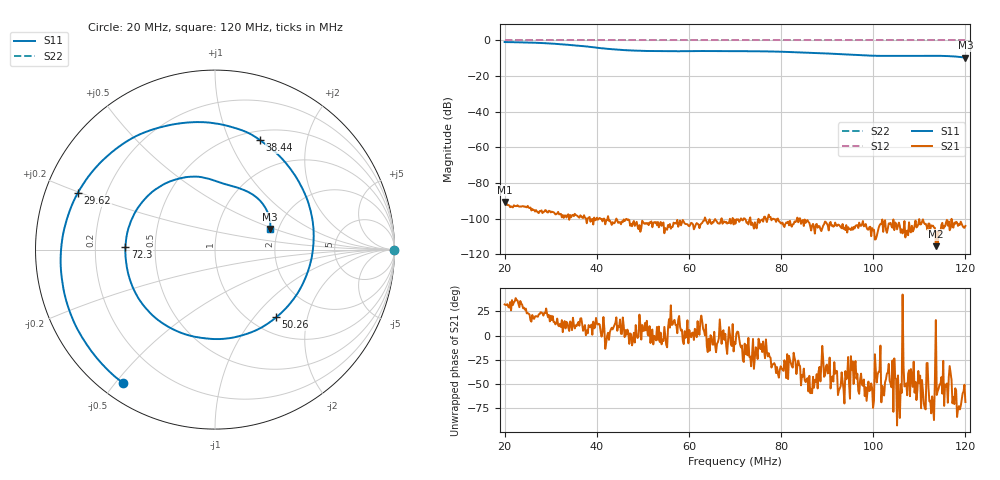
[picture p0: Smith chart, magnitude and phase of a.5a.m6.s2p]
! Anritsu VNA Master:  Model: MS2036C/10/77
! SN:  1601066
! /bd0/18may8/255.ew.m6.s2p
! Existing Calibration Information:
! TYPE:  Current Settings,  Active Cal Settings
! TIME:  05/08/2018 10:24:26 AM,  05/08/2018 10:22:10 AM
! INTERNAL TEMP:  47.5 C,  47.5 C
! # POINTS:  500,  500
! START FREQ:  20.000 MHz,  20.000 MHz
! STOP FREQ:  120.000 MHz,  120.000 MHz
! SOURCE POWER:  High,  High
! IFBW:  50 Hz,  50 Hz
! AVG FACTOR:  1 ,  1
! REF PLANE 1:  0 mm,  0 mm
! REF PLANE 2:  0 mm,  0 mm
! CAL TYPE:  Full S11,  Full S11
! CAL METHOD:  SOLT,  SOLT
! CAL LINE TYPE:  Coax,  Coax
! DUT PORT 1:  K-Conn(F),  K-Conn(F)
! DUT PORT 2:  K-Conn(F),  K-Conn(F)
! CAL STATUS:  OK: Accuracy High,  --
# GHZ S DB R 50.0
! FREQ.GHZ  S11DB  S11A  S21DB  S21A  S12DB  S12A  S22DB  S22A
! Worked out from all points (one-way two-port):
!   500 points, 20 MHz to 120 MHz, reference 50 ohm
!   highest |S21| = -90.56 dB at 20 MHz (marker M1); lowest = -115.4 dB at 113.6 MHz (marker M2)
!   lowest |S11| = -9.7 dB at 120 MHz (marker M3), VSWR 1.98, Z = 90.6 + j23.3 ohm
!   |S11| at or under -10 dB: nowhere
!   |S22| runs from 0.0 to 0.0 dB; largest |S21 - S12| = 1
!   S11 on the Smith chart (normalised r, x): 20 MHz: 0.07, -0.53; 29.62 MHz: 0.10, +0.20; 38.44 MHz: 0.60, +1.30; 50.26 MHz: 1.28, -1.31; 72.3 MHz: 0.33, +0.01; 120 MHz: 1.81, +0.47
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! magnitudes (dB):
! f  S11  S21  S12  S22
! 20 MHz  -0.9  -90.6  0.0  0.0
! 26.21 MHz  -1.3  -95.0  0.0  0.0
! 29.62 MHz  -1.7  -95.6  0.0  0.0
! 32.83 MHz  -2.2  -99.6  0.0  0.0
! 36.83 MHz  -3.1  -99.4  0.0  0.0
! 38.44 MHz  -3.6  -99.0  0.0  0.0
! 41.44 MHz  -4.5  -100.0  0.0  0.0
! 44.65 MHz  -5.2  -102.3  0.0  0.0
! 47.05 MHz  -5.6  -100.7  0.0  0.0
! 50.26 MHz  -5.9  -102.7  0.0  0.0
! 53.47 MHz  -6.0  -104.8  0.0  0.0
! 56.87 MHz  -6.1  -102.7  0.0  0.0
! 64.69 MHz  -5.9  -102.4  0.0  0.0
! 70.1 MHz  -6.0  -102.8  0.0  0.0
! 72.3 MHz  -6.0  -100.5  0.0  0.0
! 78.72 MHz  -6.2  -100.3  0.0  0.0
! 86.73 MHz  -6.9  -103.8  0.0  0.0
! 97.96 MHz  -8.4  -104.3  0.0  0.0
! 103.4 MHz  -8.7  -102.7  0.0  0.0
! 113.6 MHz  -8.6  -115.4  0.0  0.0
! 117 MHz  -8.9  -100.1  0.0  0.0
! 120 MHz  -9.7  -104.1  0.0  0.0
